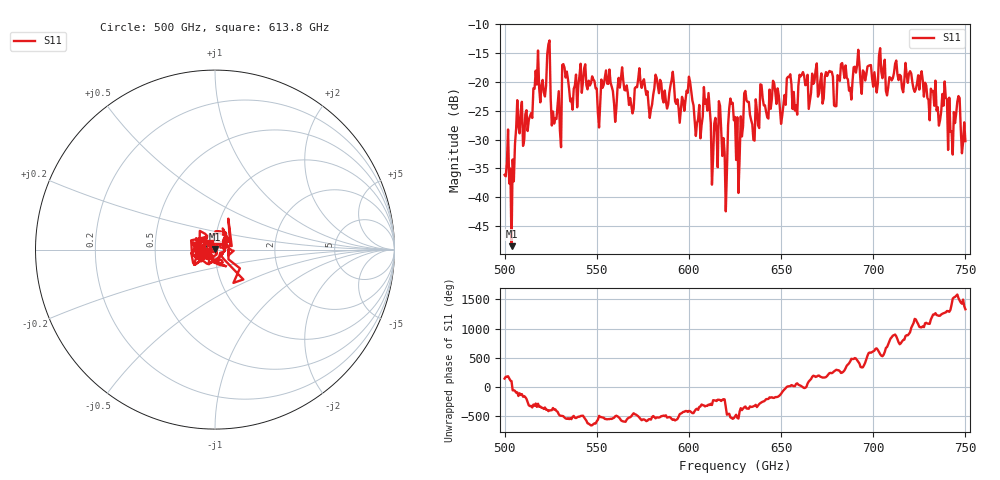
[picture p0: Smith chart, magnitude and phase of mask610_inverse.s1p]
!Created with skrf (http://scikit-rf.org).
# GHz S MA R 50.0
!freq magS11 angS11
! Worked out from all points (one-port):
!   401 points, 500 GHz to 750 GHz, reference 50 ohm
!   lowest |S11| = -48.5 dB at 503.8 GHz (marker M1), VSWR 1.01, Z = 50 + j0.375 ohm
!   |S11| at or under -10 dB: start of sweep to end of sweep
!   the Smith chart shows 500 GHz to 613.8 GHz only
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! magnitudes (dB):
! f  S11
! 500 GHz  -36.1
! 503.8 GHz  -48.5
! 508.1 GHz  -28.9
! 513.8 GHz  -25.9
! 516.9 GHz  -18.0
! 523.8 GHz  -13.5
! 526.9 GHz  -27.2
! 531.2 GHz  -17.0
! 532.5 GHz  -17.5
! 550.6 GHz  -25.4
! 562.5 GHz  -21.0
! 593.8 GHz  -23.0
! 600 GHz  -19.1
! 605 GHz  -26.4
! 609.4 GHz  -23.0
! 612.5 GHz  -37.8
! 617.5 GHz  -28.2
! 619.4 GHz  -32.3
! 622.5 GHz  -22.9
! 625 GHz  -26.1
! 626.9 GHz  -39.2
! 631.2 GHz  -23.2
! 634.4 GHz  -27.3
! 640 GHz  -22.8
! 656.2 GHz  -24.7
! 687.5 GHz  -21.0
! 718.8 GHz  -20.1
! 750 GHz  -30.3
